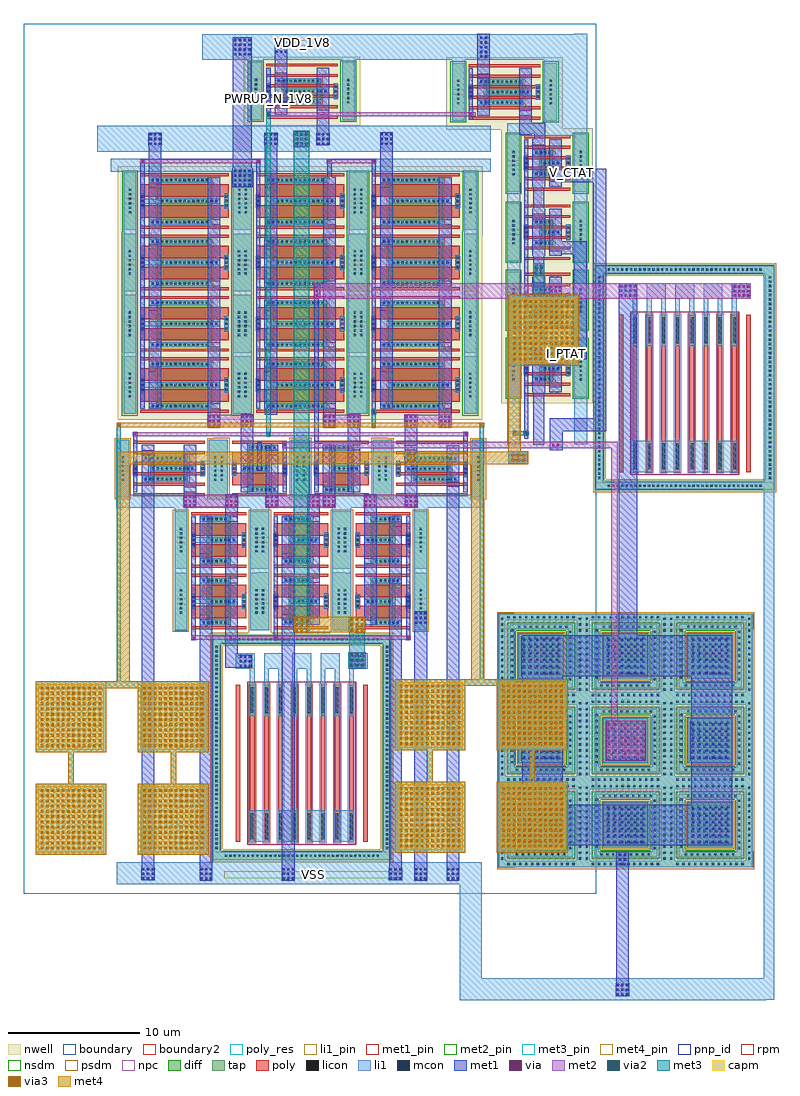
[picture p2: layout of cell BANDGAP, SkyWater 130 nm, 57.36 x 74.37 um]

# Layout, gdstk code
from math import pi, radians
import gdstk
lib = gdstk.Library(unit=1e-6, precision=1e-09)
def R(c, l, rs):  # rectangles x0, y0, x1, y1
    for r in rs: c.add(gdstk.rectangle(r[:2], r[2:], *l))
def A(c, l, x, y, w, h, nx, ny, dx, dy):  # array of equal rectangles
    R(c, l, [(x+i*dx, y+j*dy, x+i*dx+w, y+j*dy+h) for i in range(nx) for j in range(ny)])
def P(c, l, *ps):  # polygons
    for p in ps: c.add(gdstk.Polygon(p, *l))
nwell = (64, 20)
diff = (65, 20)
tap = (65, 44)
poly_res = (66, 13)
poly = (66, 20)
licon = (66, 44)
li1_pin = (67, 16)
li1 = (67, 20)
mcon = (67, 44)
met1_pin = (68, 16)
met1 = (68, 20)
via = (68, 44)
met2_pin = (69, 16)
met2 = (69, 20)
via2 = (69, 44)
met3_pin = (70, 16)
met3 = (70, 20)
via3 = (70, 44)
met4_pin = (71, 16)
met4 = (71, 20)
pnp_id = (82, 44)
rpm = (86, 20)
capm = (89, 44)
nsdm = (93, 44)
psdm = (94, 20)
npc = (95, 20)
boundary = (235, 4)
boundary2 = (236, 0)

jnwtr_capx1 = lib.new_cell('JNWTR_CAPX1')
R(jnwtr_capx1, met3_pin, [(0,0,5.4,0.5)])
R(jnwtr_capx1, met3, [(0,0,5.4,5.4)])
A(jnwtr_capx1, via3, 0.4, 0.4, 0.2, 0.2, 12, 12, 0.4, 0.4)
R(jnwtr_capx1, met4_pin, [(0,0,5.4,0.5)])
R(jnwtr_capx1, met4, [(0,0,5.4,5.4)])
R(jnwtr_capx1, capm, [(0.2,0.2,5.2,5.2)])
R(jnwtr_capx1, boundary, [(0,0,5.4,5.4)])
jnwtr_capx1.add(gdstk.Label('A', (2.7,0.25), layer=70, texttype=5))
jnwtr_capx1.add(gdstk.Label('B', (2.7,0.25), layer=71, texttype=5))

jnwtr_capx4 = lib.new_cell('JNWTR_CAPX4')
R(jnwtr_capx4, met3_pin, [(2.4,0,7.8,0.5)])
R(jnwtr_capx4, met3, [(2.4,0,15.6,0.5), (4.9,0.5,5.3,8.3), (12.7,0.5,13.1,8.3)])
R(jnwtr_capx4, met4_pin, [(2.4,0,7.8,0.5)])
R(jnwtr_capx4, met4, [(2.4,0,15.6,0.5), (4.9,0.5,5.3,8.3), (12.7,0.5,13.1,8.3)])
R(jnwtr_capx4, boundary, [(2.4,0,15.6,13.2)])
jnwtr_capx4.add(gdstk.Reference(jnwtr_capx1, (2.4,0)))
jnwtr_capx4.add(gdstk.Reference(jnwtr_capx1, (2.4,7.8)))
jnwtr_capx4.add(gdstk.Reference(jnwtr_capx1, (10.2,0)))
jnwtr_capx4.add(gdstk.Reference(jnwtr_capx1, (10.2,7.8)))
jnwtr_capx4.add(gdstk.Label('A', (5.1,0.25), layer=70, texttype=5))
jnwtr_capx4.add(gdstk.Label('B', (5.1,0.25), layer=71, texttype=5))

leloatr_nch_8c1f2 = lib.new_cell('LELOATR_NCH_8C1F2')
R(leloatr_nch_8c1f2, diff, [(2.08,1,4.96,3)])
R(leloatr_nch_8c1f2, tap, [(-0.48,-0.2,0.48,4.2), (6.56,-0.2,7.52,4.2)])
A(leloatr_nch_8c1f2, poly, 0.8, -0.11, 5.44, 0.22, 1, 6, 0, 0.8)
R(leloatr_nch_8c1f2, poly, [(0.8,1.4,1.12,1.49), (5.92,1.4,6.24,1.49), (0.8,1.71,1.12,2.29), (5.92,1.71,6.24,2.29), (0.8,2.51,1.12,2.6), (5.92,2.51,6.24,2.6)])
A(leloatr_nch_8c1f2, licon, -0.085, 1.065, 0.17, 0.17, 1, 6, 0, 0.34)
A(leloatr_nch_8c1f2, licon, 6.955, 1.065, 0.17, 0.17, 1, 6, 0, 0.34)
A(leloatr_nch_8c1f2, licon, 2.245, 1.115, 0.17, 0.17, 8, 3, 0.34, 0.8)
A(leloatr_nch_8c1f2, licon, 0.875, 1.575, 0.17, 0.17, 1, 3, 0, 0.34)
A(leloatr_nch_8c1f2, licon, 5.995, 1.575, 0.17, 0.17, 1, 3, 0, 0.34)
R(leloatr_nch_8c1f2, li1_pin, [(-0.48,1.8,0.48,2.2)])
R(leloatr_nch_8c1f2, li1, [(-0.48,-0.2,0.48,4.2), (6.56,-0.2,7.52,4.2), (1.44,1,4.96,1.4), (0.8,1.4,1.12,2.6), (5.92,1.4,6.24,2.6), (2.08,1.8,5.6,2.2), (1.44,2.6,4.96,3)])
A(leloatr_nch_8c1f2, mcon, 0.875, 1.555, 0.17, 0.17, 1, 3, 0, 0.36)
R(leloatr_nch_8c1f2, mcon, [(1.655,1.115,1.825,1.285), (2.015,1.115,2.185,1.285), (4.855,1.915,5.025,2.085), (5.215,1.915,5.385,2.085), (1.655,2.715,1.825,2.885), (2.015,2.715,2.185,2.885)])
R(leloatr_nch_8c1f2, met1_pin, [(4.64,0.2,5.6,0.6), (0.8,1.8,1.12,2.2), (1.44,3,2.4,3.4)])
R(leloatr_nch_8c1f2, met1, [(0.8,0.2,1.12,3.8), (1.44,0.2,2.4,3.8), (4.64,0.2,5.6,3.8)])
R(leloatr_nch_8c1f2, nsdm, [(1.955,0.875,5.085,3.125)])
R(leloatr_nch_8c1f2, psdm, [(-0.605,-0.325,0.605,4.325), (6.435,-0.325,7.645,4.325)])
R(leloatr_nch_8c1f2, npc, [(0.775,1.475,1.145,2.525), (5.895,1.475,6.265,2.525)])
R(leloatr_nch_8c1f2, boundary, [(0,0,7.04,4)])
leloatr_nch_8c1f2.add(gdstk.Label('D', (5.12,0.4), layer=68, texttype=5))
leloatr_nch_8c1f2.add(gdstk.Label('G', (0.96,2), layer=68, texttype=5))
leloatr_nch_8c1f2.add(gdstk.Label('S', (1.92,3.2), layer=68, texttype=5))
leloatr_nch_8c1f2.add(gdstk.Label('B', (0,2), layer=67, texttype=5))

jnwtr_res8 = lib.new_cell('JNWTR_RES8')
A(jnwtr_res8, poly_res, 0.9, 1.72, 0.36, 7.36, 8, 1, 1.08, 0)
A(jnwtr_res8, poly, -0.18, -0.6, 0.36, 12, 10, 1, 1.08, 0)
A(jnwtr_res8, licon, 0.985, -0.4, 0.19, 2, 8, 2, 1.08, 9.6)
R(jnwtr_res8, li1_pin, [(-0.18,12.6,1.26,13.8), (8.46,12.6,9.9,13.8)])
A(jnwtr_res8, li1, 0.9, -0.6, 1.44, 2.4, 4, 1, 2.16, 0)
A(jnwtr_res8, li1, 0.9, 9, 0.36, 3.6, 8, 1, 1.08, 0)
A(jnwtr_res8, li1, -0.18, 12.6, 1.44, 1.2, 5, 1, 2.16, 0)
R(jnwtr_res8, rpm, [(0.7,-0.8,9.02,11.6)])
A(jnwtr_res8, psdm, 0.79, -0.71, 0.58, 12.22, 8, 1, 1.08, 0)
A(jnwtr_res8, npc, 0.805, -0.695, 0.55, 12.19, 8, 1, 1.08, 0)
R(jnwtr_res8, boundary, [(0,0,9.72,13.2)])
jnwtr_res8.add(gdstk.Label('N', (0.54,13.2), layer=67, texttype=5))
jnwtr_res8.add(gdstk.Label('P', (9.18,13.2), layer=67, texttype=5))

jnwtr_rppo8 = lib.new_cell('JNWTR_RPPO8')
R(jnwtr_rppo8, tap, [(0,0,13.72,0.72), (0,0.72,0.72,16.48), (13,0.72,13.72,16.48), (0,16.48,13.72,17.2)])
A(jnwtr_rppo8, licon, 0.995, 0.275, 0.17, 0.17, 35, 2, 0.34, 16.48)
A(jnwtr_rppo8, licon, 0.275, 0.865, 0.17, 0.17, 1, 46, 0, 0.34)
A(jnwtr_rppo8, licon, 13.275, 0.865, 0.17, 0.17, 1, 46, 0, 0.34)
R(jnwtr_rppo8, li1_pin, [(0.08,0.08,13.64,0.64), (1.82,14.6,3.26,15.8), (10.46,14.6,11.9,15.8)])
R(jnwtr_rppo8, li1, [(0.08,0.08,13.64,0.64), (0.08,0.64,0.64,16.56), (13.08,0.64,13.64,16.56), (1.82,14.6,3.26,15.8), (10.46,14.6,11.9,15.8), (0.08,16.56,13.64,17.12)])
R(jnwtr_rppo8, psdm, [(-0.125,-0.125,13.845,0.845), (-0.125,0.845,0.845,16.355), (12.875,0.845,13.845,16.355), (-0.125,16.355,13.845,17.325)])
R(jnwtr_rppo8, boundary, [(0,0,13.72,17.2)])
jnwtr_rppo8.add(gdstk.Reference(jnwtr_res8, (2,2)))
jnwtr_rppo8.add(gdstk.Label('P', (11.18,15.2), layer=67, texttype=5))
jnwtr_rppo8.add(gdstk.Label('N', (2.54,15.2), layer=67, texttype=5))
jnwtr_rppo8.add(gdstk.Label('B', (6.86,0.36), layer=67, texttype=5))

leloatr_pch_12c5f0 = lib.new_cell('LELOATR_PCH_12C5F0')
R(leloatr_pch_12c5f0, nwell, [(-0.92,-0.64,9.24,4.64)])
R(leloatr_pch_12c5f0, diff, [(2.08,0.2,6.24,3.8)])
R(leloatr_pch_12c5f0, tap, [(-0.48,-0.2,0.48,4.2), (7.84,-0.2,8.8,4.2)])
R(leloatr_pch_12c5f0, poly, [(0.8,-0.11,7.52,0.11), (0.8,0.73,7.52,1.67), (0.8,1.67,1.12,2.33), (7.2,1.67,7.52,2.33), (0.8,2.33,7.52,3.27), (0.8,3.89,7.52,4.11)])
A(leloatr_pch_12c5f0, licon, 2.375, 0.315, 0.17, 0.17, 11, 3, 0.34, 1.6)
A(leloatr_pch_12c5f0, licon, -0.085, 1.065, 0.17, 0.17, 1, 6, 0, 0.34)
A(leloatr_pch_12c5f0, licon, 8.235, 1.065, 0.17, 0.17, 1, 6, 0, 0.34)
A(leloatr_pch_12c5f0, licon, 0.875, 1.575, 0.17, 0.17, 1, 3, 0, 0.34)
A(leloatr_pch_12c5f0, licon, 7.275, 1.575, 0.17, 0.17, 1, 3, 0, 0.34)
R(leloatr_pch_12c5f0, li1_pin, [(-0.48,1.8,0.48,2.2)])
R(leloatr_pch_12c5f0, li1, [(-0.48,-0.2,0.48,4.2), (7.84,-0.2,8.8,4.2), (1.44,0.2,6.24,0.6), (0.8,1.4,1.12,2.6), (7.2,1.4,7.52,2.6), (2.08,1.8,6.88,2.2), (1.44,3.4,6.24,3.8)])
A(leloatr_pch_12c5f0, mcon, 0.875, 1.555, 0.17, 0.17, 1, 3, 0, 0.36)
R(leloatr_pch_12c5f0, mcon, [(1.655,0.315,1.825,0.485), (2.015,0.315,2.185,0.485), (6.135,1.915,6.305,2.085), (6.495,1.915,6.665,2.085), (1.655,3.515,1.825,3.685), (2.015,3.515,2.185,3.685)])
R(leloatr_pch_12c5f0, met1_pin, [(5.92,0.2,6.88,0.6), (0.8,1.8,1.12,2.2), (1.44,3,2.4,3.4)])
R(leloatr_pch_12c5f0, met1, [(0.8,0.2,1.12,3.8), (1.44,0.2,2.4,3.8), (5.92,0.2,6.88,3.8)])
R(leloatr_pch_12c5f0, nsdm, [(-0.605,-0.325,0.605,4.325), (7.715,-0.325,8.925,4.325)])
R(leloatr_pch_12c5f0, psdm, [(1.955,0.075,6.365,3.925)])
R(leloatr_pch_12c5f0, npc, [(0.775,1.475,1.145,2.525), (7.175,1.475,7.545,2.525)])
R(leloatr_pch_12c5f0, boundary, [(0,0,8.32,4)])
leloatr_pch_12c5f0.add(gdstk.Label('D', (6.4,0.4), layer=68, texttype=5))
leloatr_pch_12c5f0.add(gdstk.Label('G', (0.96,2), layer=68, texttype=5))
leloatr_pch_12c5f0.add(gdstk.Label('S', (1.92,3.2), layer=68, texttype=5))
leloatr_pch_12c5f0.add(gdstk.Label('B', (0,2), layer=67, texttype=5))

leloatr_nch_4c5f0 = lib.new_cell('LELOATR_NCH_4C5F0')
R(leloatr_nch_4c5f0, diff, [(2.08,0.2,3.68,3.8)])
R(leloatr_nch_4c5f0, tap, [(-0.48,-0.2,0.48,4.2), (5.28,-0.2,6.24,4.2)])
R(leloatr_nch_4c5f0, poly, [(0.8,-0.11,4.96,0.11), (0.8,0.73,4.96,1.67), (0.8,1.67,1.12,2.33), (4.64,1.67,4.96,2.33), (0.8,2.33,4.96,3.27), (0.8,3.89,4.96,4.11)])
A(leloatr_nch_4c5f0, licon, 2.285, 0.315, 0.17, 0.17, 4, 3, 0.34, 1.6)
A(leloatr_nch_4c5f0, licon, -0.085, 1.065, 0.17, 0.17, 1, 6, 0, 0.34)
A(leloatr_nch_4c5f0, licon, 5.675, 1.065, 0.17, 0.17, 1, 6, 0, 0.34)
A(leloatr_nch_4c5f0, licon, 0.875, 1.575, 0.17, 0.17, 1, 3, 0, 0.34)
A(leloatr_nch_4c5f0, licon, 4.715, 1.575, 0.17, 0.17, 1, 3, 0, 0.34)
R(leloatr_nch_4c5f0, li1_pin, [(-0.48,1.8,0.48,2.2)])
R(leloatr_nch_4c5f0, li1, [(-0.48,-0.2,0.48,4.2), (5.28,-0.2,6.24,4.2), (1.44,0.2,3.68,0.6), (0.8,1.4,1.12,2.6), (4.64,1.4,4.96,2.6), (2.08,1.8,4.32,2.2), (1.44,3.4,3.68,3.8)])
A(leloatr_nch_4c5f0, mcon, 0.875, 1.555, 0.17, 0.17, 1, 3, 0, 0.36)
R(leloatr_nch_4c5f0, mcon, [(1.655,0.315,1.825,0.485), (2.015,0.315,2.185,0.485), (3.575,1.915,3.745,2.085), (3.935,1.915,4.105,2.085), (1.655,3.515,1.825,3.685), (2.015,3.515,2.185,3.685)])
R(leloatr_nch_4c5f0, met1_pin, [(3.36,0.2,4.32,0.6), (0.8,1.8,1.12,2.2), (1.44,3,2.4,3.4)])
R(leloatr_nch_4c5f0, met1, [(0.8,0.2,1.12,3.8), (1.44,0.2,2.4,3.8), (3.36,0.2,4.32,3.8)])
R(leloatr_nch_4c5f0, nsdm, [(1.955,0.075,3.805,3.925)])
R(leloatr_nch_4c5f0, psdm, [(-0.605,-0.325,0.605,4.325), (5.155,-0.325,6.365,4.325)])
R(leloatr_nch_4c5f0, npc, [(0.775,1.475,1.145,2.525), (4.615,1.475,4.985,2.525)])
R(leloatr_nch_4c5f0, boundary, [(0,0,5.76,4)])
leloatr_nch_4c5f0.add(gdstk.Label('D', (3.84,0.4), layer=68, texttype=5))
leloatr_nch_4c5f0.add(gdstk.Label('G', (0.96,2), layer=68, texttype=5))
leloatr_nch_4c5f0.add(gdstk.Label('S', (1.92,3.2), layer=68, texttype=5))
leloatr_nch_4c5f0.add(gdstk.Label('B', (0,2), layer=67, texttype=5))

jnwatr_pch_8c1f2 = lib.new_cell('JNWATR_PCH_8C1F2')
R(jnwatr_pch_8c1f2, nwell, [(-0.92,-0.64,7.96,4.64)])
R(jnwatr_pch_8c1f2, diff, [(2.08,1,4.96,3)])
R(jnwatr_pch_8c1f2, tap, [(-0.48,-0.2,0.48,4.2), (6.56,-0.2,7.52,4.2)])
A(jnwatr_pch_8c1f2, poly, 0.8, -0.11, 5.44, 0.22, 1, 6, 0, 0.8)
R(jnwatr_pch_8c1f2, poly, [(0.8,1.4,1.12,1.49), (5.92,1.4,6.24,1.49), (0.8,1.71,1.12,2.29), (5.92,1.71,6.24,2.29), (0.8,2.51,1.12,2.6), (5.92,2.51,6.24,2.6)])
A(jnwatr_pch_8c1f2, licon, -0.085, 1.065, 0.17, 0.17, 1, 6, 0, 0.34)
A(jnwatr_pch_8c1f2, licon, 6.955, 1.065, 0.17, 0.17, 1, 6, 0, 0.34)
A(jnwatr_pch_8c1f2, licon, 2.245, 1.115, 0.17, 0.17, 8, 3, 0.34, 0.8)
A(jnwatr_pch_8c1f2, licon, 0.87, 1.575, 0.17, 0.17, 1, 3, 0, 0.34)
A(jnwatr_pch_8c1f2, licon, 5.99, 1.575, 0.17, 0.17, 1, 3, 0, 0.34)
R(jnwatr_pch_8c1f2, li1_pin, [(-0.48,1.8,0.48,2.2)])
R(jnwatr_pch_8c1f2, li1, [(-0.48,-0.2,0.48,4.2), (6.56,-0.2,7.52,4.2), (1.44,1,4.96,1.4), (0.8,1.4,1.12,2.6), (5.92,1.4,6.24,2.6), (2.08,1.8,5.6,2.2), (1.44,2.6,4.96,3)])
A(jnwatr_pch_8c1f2, mcon, 0.87, 1.555, 0.17, 0.17, 1, 3, 0, 0.36)
R(jnwatr_pch_8c1f2, mcon, [(1.655,1.115,1.825,1.285), (2.015,1.115,2.185,1.285), (4.855,1.915,5.025,2.085), (5.215,1.915,5.385,2.085), (1.655,2.715,1.825,2.885), (2.015,2.715,2.185,2.885)])
R(jnwatr_pch_8c1f2, met1_pin, [(4.64,0.2,5.6,0.6), (0.8,1.8,1.12,2.2), (1.44,3,2.4,3.4)])
R(jnwatr_pch_8c1f2, met1, [(0.8,0.2,1.12,3.8), (1.44,0.2,2.4,3.8), (4.64,0.2,5.6,3.8)])
R(jnwatr_pch_8c1f2, nsdm, [(-0.605,-0.325,0.605,4.325), (6.435,-0.325,7.645,4.325)])
R(jnwatr_pch_8c1f2, psdm, [(1.955,0.875,5.085,3.125)])
R(jnwatr_pch_8c1f2, npc, [(0.77,1.475,1.14,2.525), (5.89,1.475,6.26,2.525)])
R(jnwatr_pch_8c1f2, boundary, [(0,0,7.04,4)])
jnwatr_pch_8c1f2.add(gdstk.Label('D', (5.12,0.4), layer=68, texttype=5))
jnwatr_pch_8c1f2.add(gdstk.Label('G', (0.96,2), layer=68, texttype=5))
jnwatr_pch_8c1f2.add(gdstk.Label('S', (1.92,3.2), layer=68, texttype=5))
jnwatr_pch_8c1f2.add(gdstk.Label('B', (0,2), layer=67, texttype=5))

bandgap_opamp = lib.new_cell('BANDGAP_OPAMP')
R(bandgap_opamp, li1, [(7.09,0.71,34.89,2.375), (14.415,2.375,27.975,2.78), (14.415,2.78,14.975,19.09), (27.415,2.78,27.975,19.09), (24.795,17.19,25.995,18.33), (16.445,17.25,17.35,18.155), (14.415,19.09,27.975,19.65), (11.51,20.02,12.47,29.405), (23.525,20.055,24.975,29.405), (17.27,20.065,18.725,29.405), (29.775,20.52,30.735,29.405), (12.805,22.065,14.385,22.465), (12.805,26.735,14.81,27.135), (7.075,29.4,8.035,29.405), (7.075,29.405,35.115,30.38), (7.075,30.38,8.05,34.585), (14.115,30.38,15.565,34.585), (20.365,30.38,21.82,34.585), (27.11,30.38,28.07,34.385), (34.15,30.38,35.11,34.58), (15.94,36.55,17.395,55.02), (24.755,36.55,26.205,55.02), (7.62,37,8.58,55.02), (33.565,37,34.525,55.02), (8.9,38.55,11.085,38.95), (8.9,43.22,11.25,43.62), (8.9,47.89,11.14,48.29), (8.9,52.56,10.9,52.96), (6.62,55.02,35.58,55.98), (5.61,56.52,35.59,58.5), (17.22,62.275,18.18,63.52), (24.26,62.275,25.22,63.52), (13.62,63.52,27.08,65.48)])
A(bandgap_opamp, mcon, 9.03, 1.055, 0.17, 0.17, 3, 3, 0.36, 0.36)
A(bandgap_opamp, mcon, 13.465, 1.055, 0.17, 0.17, 3, 3, 0.36, 0.36)
A(bandgap_opamp, mcon, 19.72, 1.055, 0.17, 0.17, 3, 3, 0.36, 0.36)
A(bandgap_opamp, mcon, 27.89, 1.055, 0.17, 0.17, 3, 3, 0.36, 0.36)
A(bandgap_opamp, mcon, 29.81, 1.055, 0.17, 0.17, 3, 3, 0.36, 0.36)
A(bandgap_opamp, mcon, 32.265, 1.055, 0.17, 0.17, 3, 3, 0.36, 0.36)
A(bandgap_opamp, mcon, 16.45, 17.255, 0.17, 0.17, 3, 3, 0.36, 0.36)
A(bandgap_opamp, mcon, 24.95, 17.315, 0.17, 0.17, 3, 3, 0.36, 0.36)
A(bandgap_opamp, mcon, 29.81, 20.555, 0.17, 0.17, 3, 3, 0.36, 0.36)
A(bandgap_opamp, mcon, 16.04, 53.905, 0.17, 0.17, 4, 4, 0.36, 0.36)
A(bandgap_opamp, mcon, 9.575, 57.055, 0.17, 0.17, 3, 3, 0.36, 0.36)
A(bandgap_opamp, mcon, 18.39, 57.055, 0.17, 0.17, 3, 3, 0.36, 0.36)
A(bandgap_opamp, mcon, 20.73, 57.055, 0.17, 0.17, 3, 3, 0.36, 0.36)
A(bandgap_opamp, mcon, 22.375, 57.055, 0.17, 0.17, 3, 3, 0.36, 0.36)
A(bandgap_opamp, mcon, 27.2, 57.055, 0.17, 0.17, 3, 3, 0.36, 0.36)
A(bandgap_opamp, mcon, 16.04, 63.87, 0.17, 0.17, 4, 4, 0.36, 0.36)
A(bandgap_opamp, mcon, 19.175, 64.055, 0.17, 0.17, 3, 3, 0.36, 0.36)
R(bandgap_opamp, met1_pin, [(32.23,30.98,33.19,31.38), (19.725,32.18,20.045,32.58), (22.14,32.18,22.46,32.58), (33.51,32.18,33.83,32.58), (29.03,33.78,29.99,34.18), (19.14,61.935,20.1,62.335)])
R(bandgap_opamp, met1, [(13.43,0.99,14.39,26.53), (19.685,0.99,20.645,28.08), (29.775,0.99,30.735,21.51), (32.23,0.99,33.19,30.97), (8.965,1.02,9.985,1.98), (27.825,1.02,28.845,1.98), (8.995,1.98,9.955,32.705), (27.855,1.98,28.815,27.64), (24.765,17.13,26.025,17.16), (24.735,17.16,26.055,18.36), (15.345,17.22,17.41,18.185), (15.345,18.185,16.31,21.485), (24.765,18.36,26.025,18.39), (12.785,19.31,13.11,27.78), (19.045,19.31,19.365,27.96), (29.135,19.31,29.455,26.26), (21.605,21.12,22.565,30.41), (15.345,21.485,16.305,27.65), (25.935,22.37,26.895,30.41), (15.35,27.775,16.31,30.41), (12.195,29.39,13.155,31.68), (18.445,29.39,19.405,31.9), (22.78,29.39,23.74,32.585), (29.03,29.39,29.99,32.7), (22.13,30.57,22.47,34.18), (19.725,30.58,20.045,34.17), (33.51,30.58,33.83,35.19), (33.18,30.97,33.19,30.98), (32.23,30.98,33.19,32.7), (16.525,32.54,17.485,36.51), (29,32.7,30.02,33.66), (24.7,33.22,25.66,35.52), (29.03,33.66,29.99,35.52), (8.355,33.865,8.675,34.84), (8.325,34.84,8.705,35.16), (14.02,35.49,14.98,54.48), (22.835,35.49,23.795,54.58), (24.67,35.52,25.69,36.48), (29,35.52,30.02,36.48), (31.615,35.52,32.635,36.48), (18.355,36.48,19.315,57.02), (24.7,36.48,25.66,36.51), (31.645,36.48,32.605,54.48), (26.525,36.51,26.845,55.99), (8.9,37,9.22,55.99), (17.715,37.24,18.035,55.99), (27.165,37.31,28.125,58.01), (9.54,38.92,10.5,57.02), (15.88,53.805,17.455,55.26), (23.14,54.58,23.46,55.64), (15.94,55.26,17.395,65.255), (23.11,55.64,23.49,55.96), (20.575,56.87,21.775,56.9), (20.545,56.9,21.805,58.1), (9.51,57.02,10.53,57.98), (18.325,57.02,19.345,57.98), (22.31,57.02,23.33,57.98), (22.34,57.98,23.3,60.38), (20.575,58.1,21.775,58.13), (18.5,59.205,18.82,59.585), (19.14,61.285,20.1,65.01)])
A(bandgap_opamp, via, 24.84, 17.365, 0.15, 0.15, 4, 3, 0.32, 0.32)
A(bandgap_opamp, via, 12.28, 29.505, 0.15, 0.15, 3, 3, 0.32, 0.32)
A(bandgap_opamp, via, 15.435, 29.505, 0.15, 0.15, 3, 3, 0.32, 0.32)
A(bandgap_opamp, via, 18.53, 29.505, 0.15, 0.15, 3, 3, 0.32, 0.32)
A(bandgap_opamp, via, 21.69, 29.505, 0.15, 0.15, 3, 3, 0.32, 0.32)
A(bandgap_opamp, via, 22.865, 29.505, 0.15, 0.15, 3, 3, 0.32, 0.32)
A(bandgap_opamp, via, 26.02, 29.505, 0.15, 0.15, 3, 3, 0.32, 0.32)
A(bandgap_opamp, via, 29.115, 29.505, 0.15, 0.15, 3, 3, 0.32, 0.32)
A(bandgap_opamp, via, 29.115, 32.785, 0.15, 0.15, 3, 3, 0.32, 0.32)
A(bandgap_opamp, via, 14.105, 35.605, 0.15, 0.15, 3, 3, 0.32, 0.32)
A(bandgap_opamp, via, 16.61, 35.605, 0.15, 0.15, 3, 3, 0.32, 0.32)
A(bandgap_opamp, via, 22.92, 35.605, 0.15, 0.15, 3, 3, 0.32, 0.32)
A(bandgap_opamp, via, 24.785, 35.605, 0.15, 0.15, 3, 3, 0.32, 0.32)
A(bandgap_opamp, via, 29.115, 35.605, 0.15, 0.15, 3, 3, 0.32, 0.32)
A(bandgap_opamp, via, 31.73, 35.605, 0.15, 0.15, 3, 3, 0.32, 0.32)
A(bandgap_opamp, via, 20.78, 57.105, 0.15, 0.15, 3, 3, 0.32, 0.32)
R(bandgap_opamp, via, [(12.87,19.425,13.02,19.575), (15.725,19.425,15.875,19.575), (19.13,19.425,19.28,19.575), (29.22,19.425,29.37,19.575), (8.44,34.925,8.59,35.075), (33.595,34.925,33.745,35.075), (26.61,36.625,26.76,36.775), (8.985,55.725,9.135,55.875), (17.8,55.725,17.95,55.875), (23.225,55.725,23.375,55.875), (26.61,55.725,26.76,55.875), (18.585,59.32,18.735,59.47)])
R(bandgap_opamp, met2, [(24.735,17.16,26.055,18.36), (24.765,18.36,26.025,18.405), (12.755,19.34,29.485,19.66), (12.755,19.66,13.71,19.665), (12.165,29.42,16.34,30.38), (18.415,29.42,23.77,30.38), (25.905,29.42,30.02,30.38), (29.03,32.67,29.99,32.7), (29.03,32.7,30.035,33.66), (29.03,33.66,29.99,33.69), (8.355,34.81,8.675,34.84), (18.52,34.815,18.8,34.84), (8.355,34.84,33.86,35.16), (8.355,35.16,8.675,35.19), (18.52,35.16,18.8,35.185), (24.7,35.49,25.66,35.52), (29.03,35.49,29.99,35.52), (31.645,35.49,32.605,35.52), (13.99,35.52,17.515,36.48), (22.805,35.52,25.69,36.48), (29.03,35.52,32.605,36.48), (24.7,36.48,25.66,36.51), (29.03,36.48,29.99,36.51), (31.645,36.48,32.605,36.51), (26.525,36.495,26.845,36.54), (26.495,36.54,26.875,36.86), (26.525,36.86,26.845,36.865), (23.14,55.61,23.46,55.64), (8.87,55.64,18.065,55.96), (23.14,55.64,26.875,55.96), (23.14,55.96,23.46,55.99), (20.545,56.9,21.805,58.1), (18.5,59.19,18.82,59.235), (18.47,59.235,18.85,59.555), (18.5,59.555,18.82,59.56)])
A(bandgap_opamp, via2, 24.895, 17.285, 0.2, 0.2, 3, 3, 0.4, 0.4)
A(bandgap_opamp, via2, 20.675, 57, 0.2, 0.2, 3, 3, 0.4, 0.4)
R(bandgap_opamp, via2, [(29.235,32.88,29.435,33.08), (29.635,32.88,29.835,33.08), (29.235,33.28,29.435,33.48), (29.635,33.28,29.835,33.48), (18.56,34.9,18.76,35.1), (26.585,36.58,26.785,36.78), (18.56,59.275,18.76,59.475)])
R(bandgap_opamp, met3, [(7.1,15.85,7.4,34.24), (34.74,15.94,35.06,35.54), (24.74,17.185,26.05,18.385), (24.795,18.385,25.995,19.9), (20.555,19.9,21.805,21.1), (24.765,19.9,26.015,21.1), (20.575,21.1,21.775,58.1), (29.035,32.675,30.045,33.685), (7.09,34.24,7.41,35.89), (18.495,34.835,18.825,35.165), (18.5,35.165,18.82,59.21), (26.525,35.51,26.845,36.515), (34.71,35.54,35.09,35.86), (26.5,36.515,26.87,36.845), (26.525,36.845,26.845,36.96), (18.475,59.21,18.845,59.54)])
A(bandgap_opamp, via3, 20.68, 20, 0.2, 0.2, 3, 3, 0.4, 0.4)
A(bandgap_opamp, via3, 24.89, 20, 0.2, 0.2, 3, 3, 0.4, 0.4)
R(bandgap_opamp, via3, [(29.24,32.88,29.44,33.08), (29.64,32.88,29.84,33.08), (29.24,33.28,29.44,33.48), (29.64,33.28,29.84,33.48), (7.15,35.6,7.35,35.8), (26.585,35.6,26.785,35.8), (34.8,35.6,35,35.8)])
R(bandgap_opamp, met4, [(7.12,16.02,8.08,32.7), (34.12,16.02,35.08,32.7), (20.58,19.895,21.78,19.9), (24.79,19.895,25.99,19.9), (20.58,19.9,25.99,21.1), (20.58,21.1,21.78,21.105), (24.79,21.1,25.99,21.105), (29.06,32.67,30.02,32.7), (7.12,32.7,35.08,33.66), (29.06,33.66,30.02,33.69), (7.085,35.535,7.415,35.54), (26.52,35.535,26.85,35.54), (34.735,35.535,35.065,35.54), (7.085,35.54,35.065,35.86), (7.085,35.86,7.415,35.865), (26.52,35.86,26.85,35.865), (34.735,35.86,35.065,35.865)])
R(bandgap_opamp, nsdm, [(7.49,41.075,8.7,41.095), (15.81,41.075,17.515,41.095), (24.625,41.075,26.325,41.095), (33.435,41.075,34.645,41.095), (7.49,45.745,8.7,45.765), (15.81,45.745,17.515,45.765), (24.625,45.745,26.325,45.765), (33.435,45.745,34.645,45.765), (7.495,50.415,8.7,50.445), (15.815,50.415,17.515,50.445), (24.63,50.415,26.325,50.445), (33.44,50.415,34.645,50.445)])
R(bandgap_opamp, psdm, [(17.14,19.855,18.85,19.935), (23.4,19.855,25.1,19.935), (18.35,19.935,18.85,19.94), (23.4,19.935,23.89,19.94), (11.38,24.585,12.59,24.61), (17.14,24.585,17.64,24.59), (24.61,24.585,25.1,24.59), (29.65,24.585,30.86,24.61), (17.14,24.59,18.85,24.61), (23.4,24.59,25.1,24.61), (18.35,24.61,18.85,24.615), (23.4,24.61,23.89,24.615)])
R(bandgap_opamp, boundary, [(0,0,43.63,66.26)])
bandgap_opamp.add(gdstk.Reference(jnwtr_capx4, (16.51,16.16), rotation=pi))
bandgap_opamp.add(gdstk.Reference(jnwtr_capx4, (43.86,16.32), rotation=pi))
bandgap_opamp.add(gdstk.Reference(leloatr_nch_8c1f2, (7.555,30.385)))
bandgap_opamp.add(gdstk.Reference(leloatr_nch_8c1f2, (34.63,34.38), rotation=pi))
bandgap_opamp.add(gdstk.Reference(jnwtr_rppo8, (14.335,2.53)))
bandgap_opamp.add(gdstk.Reference(leloatr_pch_12c5f0, (8.1,50.77)))
bandgap_opamp.add(gdstk.Reference(leloatr_pch_12c5f0, (8.095,46.09)))
bandgap_opamp.add(gdstk.Reference(leloatr_pch_12c5f0, (8.095,41.42)))
bandgap_opamp.add(gdstk.Reference(leloatr_pch_12c5f0, (8.095,36.75)))
bandgap_opamp.add(gdstk.Reference(leloatr_pch_12c5f0, (16.91,36.75)))
bandgap_opamp.add(gdstk.Reference(leloatr_pch_12c5f0, (16.91,41.42)))
bandgap_opamp.add(gdstk.Reference(leloatr_pch_12c5f0, (16.91,46.09)))
bandgap_opamp.add(gdstk.Reference(leloatr_pch_12c5f0, (16.915,50.77)))
bandgap_opamp.add(gdstk.Reference(leloatr_pch_12c5f0, (25.72,36.75)))
bandgap_opamp.add(gdstk.Reference(leloatr_pch_12c5f0, (25.72,41.42)))
bandgap_opamp.add(gdstk.Reference(leloatr_pch_12c5f0, (25.72,46.09)))
bandgap_opamp.add(gdstk.Reference(leloatr_pch_12c5f0, (25.725,50.77)))
bandgap_opamp.add(gdstk.Reference(leloatr_nch_4c5f0, (20.845,30.39), rotation=pi, x_reflection=True))
bandgap_opamp.add(gdstk.Reference(leloatr_nch_4c5f0, (21.34,34.39), x_reflection=True))
bandgap_opamp.add(gdstk.Reference(leloatr_nch_4c5f0, (11.985,24.26), x_reflection=True))
bandgap_opamp.add(gdstk.Reference(leloatr_nch_4c5f0, (11.985,28.935), x_reflection=True))
bandgap_opamp.add(gdstk.Reference(leloatr_nch_4c5f0, (18.245,28.94), x_reflection=True))
bandgap_opamp.add(gdstk.Reference(leloatr_nch_4c5f0, (18.245,24.265), x_reflection=True))
bandgap_opamp.add(gdstk.Reference(leloatr_nch_4c5f0, (30.255,24.935), rotation=pi, x_reflection=True))
bandgap_opamp.add(gdstk.Reference(leloatr_nch_4c5f0, (30.255,20.26), rotation=pi, x_reflection=True))
bandgap_opamp.add(gdstk.Reference(jnwatr_pch_8c1f2, (17.7,59.14)))
bandgap_opamp.add(gdstk.Label('PWRUP_N_1V8', (33.67,32.38), layer=68, texttype=5))
bandgap_opamp.add(gdstk.Label('VSS', (32.71,31.18), layer=68, texttype=5))
bandgap_opamp.add(gdstk.Label('VIN', (19.885,32.38), layer=68, texttype=5))
bandgap_opamp.add(gdstk.Label('VIP', (22.3,32.38), layer=68, texttype=5))
bandgap_opamp.add(gdstk.Label('VOUT', (29.51,33.98), layer=68, texttype=5))
bandgap_opamp.add(gdstk.Label('VDD_1V8', (19.62,62.135), layer=68, texttype=5))

leloatr_pch_2c1f2 = lib.new_cell('LELOATR_PCH_2C1F2')
R(leloatr_pch_2c1f2, nwell, [(-0.92,-0.64,6.04,4.64)])
R(leloatr_pch_2c1f2, diff, [(2.08,1,3.04,3)])
R(leloatr_pch_2c1f2, tap, [(-0.48,-0.2,0.48,4.2), (4.64,-0.2,5.6,4.2)])
A(leloatr_pch_2c1f2, poly, 0.8, -0.11, 3.52, 0.22, 1, 6, 0, 0.8)
R(leloatr_pch_2c1f2, poly, [(0.8,1.4,1.12,1.49), (4,1.4,4.32,1.49), (0.8,1.71,1.12,2.29), (4,1.71,4.32,2.29), (0.8,2.51,1.12,2.6), (4,2.51,4.32,2.6)])
A(leloatr_pch_2c1f2, licon, -0.085, 1.065, 0.17, 0.17, 1, 6, 0, 0.34)
A(leloatr_pch_2c1f2, licon, 5.035, 1.065, 0.17, 0.17, 1, 6, 0, 0.34)
A(leloatr_pch_2c1f2, licon, 2.305, 1.115, 0.17, 0.17, 1, 3, 0, 0.8)
A(leloatr_pch_2c1f2, licon, 2.645, 1.115, 0.17, 0.17, 1, 3, 0, 0.8)
A(leloatr_pch_2c1f2, licon, 0.875, 1.575, 0.17, 0.17, 1, 3, 0, 0.34)
A(leloatr_pch_2c1f2, licon, 4.075, 1.575, 0.17, 0.17, 1, 3, 0, 0.34)
R(leloatr_pch_2c1f2, li1_pin, [(-0.48,1.8,0.48,2.2)])
R(leloatr_pch_2c1f2, li1, [(-0.48,-0.2,0.48,4.2), (4.64,-0.2,5.6,4.2), (1.44,1,3.04,1.4), (0.8,1.4,1.12,2.6), (4,1.4,4.32,2.6), (2.08,1.8,3.68,2.2), (1.44,2.6,3.04,3)])
A(leloatr_pch_2c1f2, mcon, 0.875, 1.555, 0.17, 0.17, 1, 3, 0, 0.36)
R(leloatr_pch_2c1f2, mcon, [(1.655,1.115,1.825,1.285), (2.015,1.115,2.185,1.285), (2.935,1.915,3.105,2.085), (3.295,1.915,3.465,2.085), (1.655,2.715,1.825,2.885), (2.015,2.715,2.185,2.885)])
R(leloatr_pch_2c1f2, met1_pin, [(2.72,0.2,3.68,0.6), (0.8,1.8,1.12,2.2), (1.44,3,2.4,3.4)])
R(leloatr_pch_2c1f2, met1, [(0.8,0.2,1.12,3.8), (1.44,0.2,2.4,3.8), (2.72,0.2,3.68,3.8)])
R(leloatr_pch_2c1f2, nsdm, [(-0.605,-0.325,0.605,4.325), (4.515,-0.325,5.725,4.325)])
R(leloatr_pch_2c1f2, psdm, [(1.955,0.875,3.165,3.125)])
R(leloatr_pch_2c1f2, npc, [(0.775,1.475,1.145,2.525), (3.975,1.475,4.345,2.525)])
R(leloatr_pch_2c1f2, boundary, [(0,0,5.12,4)])
leloatr_pch_2c1f2.add(gdstk.Label('D', (3.2,0.4), layer=68, texttype=5))
leloatr_pch_2c1f2.add(gdstk.Label('G', (0.96,2), layer=68, texttype=5))
leloatr_pch_2c1f2.add(gdstk.Label('S', (1.92,3.2), layer=68, texttype=5))
leloatr_pch_2c1f2.add(gdstk.Label('B', (0,2), layer=67, texttype=5))

sky130_fd_pr__rf_pnp_05v = lib.new_cell('sky130_fd_pr__rf_pnp_05v5_W3p40L3p40')
R(sky130_fd_pr__rf_pnp_05v, nwell, [(0.765,0.765,5.935,5.935)])
R(sky130_fd_pr__rf_pnp_05v, diff, [(1.65,1.65,5.05,5.05)])
P(sky130_fd_pr__rf_pnp_05v, tap, [(0.945,0.945),(5.755,0.945),(5.755,5.755),(5.395,5.755),(5.395,1.305),(1.305,1.305),(1.305,5.395),(5.395,5.395),(5.395,5.755),(0.945,5.755)],
  [(0.13,0.13),(6.57,0.13),(6.57,6.57),(6.065,6.57),(6.065,0.635),(0.635,0.635),(0.635,6.065),(6.065,6.065),(6.065,6.57),(0.13,6.57)])
A(sky130_fd_pr__rf_pnp_05v, licon, 0.78, 0.29, 0.17, 0.17, 12, 2, 0.45, 5.935)
A(sky130_fd_pr__rf_pnp_05v, licon, 0.3, 0.71, 0.17, 0.17, 1, 13, 0, 0.45)
A(sky130_fd_pr__rf_pnp_05v, licon, 6.235, 0.71, 0.17, 0.17, 1, 13, 0, 0.45)
A(sky130_fd_pr__rf_pnp_05v, licon, 1.43, 1.04, 0.17, 0.17, 9, 1, 0.45, 0)
A(sky130_fd_pr__rf_pnp_05v, licon, 5.49, 1.51, 0.17, 0.17, 1, 9, 0, 0.45)
A(sky130_fd_pr__rf_pnp_05v, licon, 1.04, 1.605, 0.17, 0.17, 1, 9, 0, 0.45)
A(sky130_fd_pr__rf_pnp_05v, licon, 1.92, 1.92, 0.17, 0.17, 7, 7, 0.45, 0.45)
A(sky130_fd_pr__rf_pnp_05v, licon, 1.6, 5.49, 0.17, 0.17, 9, 1, 0.45, 0)
R(sky130_fd_pr__rf_pnp_05v, li1_pin, [(2.77,3.13,4.01,3.65), (2.95,5.51,3.54,5.71), (3.065,6.26,3.57,6.505)])
A(sky130_fd_pr__rf_pnp_05v, li1, 0.58, 0.21, 0.33, 0.33, 12, 1, 0.45, 0)
A(sky130_fd_pr__rf_pnp_05v, li1, 0.675, 0.24, 0.27, 0.27, 11, 2, 0.5, 5.96)
A(sky130_fd_pr__rf_pnp_05v, li1, 6.16, 0.54, 0.33, 0.33, 1, 13, 0, 0.45)
A(sky130_fd_pr__rf_pnp_05v, li1, 0.22, 0.63, 0.33, 0.33, 1, 13, 0, 0.45)
A(sky130_fd_pr__rf_pnp_05v, li1, 1.35, 0.96, 0.33, 0.33, 9, 1, 0.45, 0)
A(sky130_fd_pr__rf_pnp_05v, li1, 1.14, 0.985, 0.27, 0.27, 9, 1, 0.5, 0)
A(sky130_fd_pr__rf_pnp_05v, li1, 5.41, 1.43, 0.33, 0.33, 1, 9, 0, 0.45)
A(sky130_fd_pr__rf_pnp_05v, li1, 0.96, 1.525, 0.33, 0.33, 1, 9, 0, 0.45)
A(sky130_fd_pr__rf_pnp_05v, li1, 1.84, 1.84, 0.33, 0.33, 7, 7, 0.45, 0.45)
A(sky130_fd_pr__rf_pnp_05v, li1, 1.93, 1.93, 0.27, 0.27, 6, 6, 0.5, 0.5)
A(sky130_fd_pr__rf_pnp_05v, li1, 1.52, 5.41, 0.33, 0.33, 9, 1, 0.45, 0)
A(sky130_fd_pr__rf_pnp_05v, li1, 1.155, 5.44, 0.27, 0.27, 9, 1, 0.5, 0)
A(sky130_fd_pr__rf_pnp_05v, li1, 0.7, 6.165, 0.33, 0.33, 12, 1, 0.45, 0)
R(sky130_fd_pr__rf_pnp_05v, li1, [(1.615,1.615,5.085,5.085), (1.65,1.65,5.05,5.05)])
P(sky130_fd_pr__rf_pnp_05v, li1, [(0.13,0.13),(6.57,0.13),(6.57,6.57),(6.075,6.57),(6.075,0.625),(0.625,0.625),(0.625,6.075),(6.075,6.075),(6.075,6.57),(0.13,6.57)],
  [(0.945,0.945),(5.755,0.945),(5.755,5.755),(5.395,5.755),(5.395,1.305),(1.305,1.305),(1.305,5.395),(5.395,5.395),(5.395,5.755),(0.945,5.755)])
A(sky130_fd_pr__rf_pnp_05v, mcon, 1.98, 1.98, 0.17, 0.17, 6, 6, 0.5, 0.5)
A(sky130_fd_pr__rf_pnp_05v, met1, 1.93, 1.93, 0.27, 0.27, 6, 6, 0.5, 0.5)
R(sky130_fd_pr__rf_pnp_05v, met1, [(1.825,1.825,4.875,4.875)])
R(sky130_fd_pr__rf_pnp_05v, pnp_id, [(0.135,0.135,6.565,6.565)])
P(sky130_fd_pr__rf_pnp_05v, nsdm, [(0.805,0.805),(5.895,0.805),(5.895,5.895),(5.265,5.895),(5.265,1.435),(1.435,1.435),(1.435,5.265),(5.265,5.265),(5.265,5.895),(0.805,5.895)])
R(sky130_fd_pr__rf_pnp_05v, psdm, [(1.52,1.52,5.18,5.18)])
P(sky130_fd_pr__rf_pnp_05v, psdm, [(0,0),(6.7,0),(6.7,6.7),(5.935,6.7),(5.935,0.765),(0.765,0.765),(0.765,5.935),(5.935,5.935),(5.935,6.7),(0,6.7)])
R(sky130_fd_pr__rf_pnp_05v, boundary2, [(0.13,0.13,6.57,6.57)])
sky130_fd_pr__rf_pnp_05v.add(gdstk.Label('Emitter', (3.39,3.39), layer=67, texttype=5))
sky130_fd_pr__rf_pnp_05v.add(gdstk.Label('Collector', (3.32,6.38), layer=67, texttype=5))
sky130_fd_pr__rf_pnp_05v.add(gdstk.Label('Base', (3.245,5.61), layer=67, texttype=5))

bandgap_diode = lib.new_cell('BANDGAP_DIODE')
R(bandgap_diode, li1_pin, [(0.2,18.3,19.4,19.4)])
R(bandgap_diode, li1, [(0.1,0.1,1.3,0.15), (0.1,0.15,19.51,1.35), (0.1,1.35,1.33,5.42), (5.38,1.35,7.76,5.42), (11.8,1.35,14.18,5.42), (18.25,1.35,19.47,5.42), (0.1,5.42,19.47,7.78), (0.1,7.78,1.33,11.87), (5.38,7.78,7.76,11.87), (11.8,7.78,14.18,11.87), (18.25,7.78,19.47,11.87), (0.1,11.87,19.47,14.23), (0.1,14.23,1.33,18.27), (5.38,14.23,7.76,18.27), (11.8,14.23,14.18,18.27), (18.25,14.23,19.47,18.27), (0.1,18.27,19.51,19.47), (0.1,19.47,1.3,19.5)])
R(bandgap_diode, met1_pin, [(1.9,1.8,17.9,4.9)])
A(bandgap_diode, met1, 8.5, 8.5, 0.5, 0.5, 3, 3, 1, 1)
R(bandgap_diode, met1, [(1.9,1.8,17.9,4.9), (1.9,4.9,5,14.7), (14.8,4.9,17.9,14.7), (1.9,14.7,17.9,17.8)])
A(bandgap_diode, via, 8.675, 8.675, 0.15, 0.15, 3, 3, 1, 1)
R(bandgap_diode, met2_pin, [(8.3,8.3,11.3,11.3)])
R(bandgap_diode, met2, [(8.3,8.3,11.3,11.3)])
r = gdstk.Reference(sky130_fd_pr__rf_pnp_05v, (0,0)); r.repetition = gdstk.Repetition(3, 3, v1=(6.44,0), v2=(0,6.44)); bandgap_diode.add(r)
bandgap_diode.add(gdstk.Label('DN', (9.9,3.35), layer=68, texttype=5))
bandgap_diode.add(gdstk.Label('C', (9.8,18.85), layer=67, texttype=5))
bandgap_diode.add(gdstk.Label('D1', (9.8,9.8), layer=69, texttype=5))

bandgap = lib.new_cell('BANDGAP')
R(bandgap, nwell, [(31.295,85.5,35.535,85.535), (31.295,85.535,40.18,85.725), (35.51,85.725,40.18,86.555)])
R(bandgap, li1_pin, [(14.375,28.435,27.935,28.995), (19.86,91.895,20.82,92.295)])
R(bandgap, li1, [(32.315,19.17,55.665,19.2), (32.315,19.2,56.3,20.835), (32.315,20.835,33.98,29.655), (55.5,20.835,56.3,75.1), (44.27,29.345,45.155,30.42), (35.94,61.515,36.9,67.025), (41.06,61.515,42.02,81.455), (35.93,67.025,36.915,81.43), (53.145,72.645,54.44,73.725), (44.48,72.67,45.8,73.755), (35.94,82.62,36.9,83.62), (41.06,82.68,42.02,83.62), (35.94,84.18,36.9,85.03), (41.06,84.58,42.02,85.03), (35.94,85.03,42.03,85.99), (38.775,85.99,42.02,87.115), (39.435,87.115,42.02,89.355), (31.735,89.355,32.695,90.8), (38.775,89.355,42.02,90.8), (24.21,90.8,42.02,92.76), (41.06,92.76,42.02,92.78)])
A(bandgap, mcon, 44.265, 19.505, 0.17, 0.17, 3, 3, 0.36, 0.36)
A(bandgap, mcon, 44.445, 29.435, 0.17, 0.17, 1, 3, 0, 0.36)
A(bandgap, mcon, 44.805, 29.435, 0.17, 0.17, 1, 3, 0, 0.36)
A(bandgap, mcon, 53.165, 72.74, 0.17, 0.17, 4, 3, 0.36, 0.36)
A(bandgap, mcon, 44.515, 72.765, 0.17, 0.17, 4, 3, 0.36, 0.36)
A(bandgap, mcon, 33.875, 90.97, 0.17, 0.17, 1, 5, 0, 0.36)
A(bandgap, mcon, 34.235, 90.97, 0.17, 0.17, 1, 5, 0, 0.36)
R(bandgap, met1_pin, [(39.5,68,41.36,68.865), (40.36,82.02,41.32,82.42), (17.6,87.64,17.91,88.04)])
R(bandgap, met1, [(44.2,19.47,45.22,20.43), (44.23,20.43,45.19,30.48), (44.42,44.415,45.86,73.8), (16.89,59.495,17.225,61.665), (36,59.99,37.545,61), (21.22,61.06,21.56,72.6), (39.18,61.07,40.18,62.5), (18.815,61.19,19.135,61.7), (37.92,61.475,38.76,81.92), (37.22,61.94,37.54,62.2), (37.19,62.2,37.57,62.52), (39.18,62.5,43.5,63.5), (37.22,62.52,37.54,84.66), (42.5,63.5,43.5,81.5), (39.5,68,42,69), (41,69,42,76), (39.14,71.14,40.1,73.805), (21.22,72.6,21.705,73.795), (53.06,72.6,54.5,73.8), (40,76,42,77), (39.5,81.5,43.5,82.5), (37.98,82.4,38.82,85.18), (36.855,85.12,37.815,85.18), (36.855,85.18,38.82,86.02), (36.855,86.02,37.815,87.515), (33.015,86.24,33.335,87.06), (33.655,88.62,34.615,92.78)])
A(bandgap, via, 36.225, 60.265, 0.15, 0.15, 4, 2, 0.32, 0.32)
A(bandgap, via, 53.235, 72.79, 0.15, 0.15, 4, 3, 0.32, 0.32)
A(bandgap, via, 21.36, 72.8, 0.15, 0.15, 1, 3, 0, 0.32)
A(bandgap, via, 39.225, 72.805, 0.15, 0.15, 3, 3, 0.32, 0.32)
A(bandgap, via, 38.11, 74.41, 0.15, 0.15, 1, 3, 0, 0.32)
A(bandgap, via, 38.43, 74.41, 0.15, 0.15, 1, 3, 0, 0.32)
R(bandgap, via, [(18.9,61.37,19.05,61.52), (39.38,61.37,39.53,61.52), (39.7,61.37,39.85,61.52), (37.305,62.285,37.455,62.435), (33.1,86.575,33.25,86.725)])
R(bandgap, met2, [(43.855,39.705,44.355,61.2), (36,59.99,37.545,61), (18.8,61.2,44.355,61.7), (37.22,62.17,37.54,62.2), (37.175,62.2,37.545,62.52), (37.22,62.52,37.54,62.55), (21.21,72.6,54.5,73.8), (37.92,74.305,38.76,75.3), (17.6,86.5,33.55,86.8)])
A(bandgap, via2, 36.28, 60.2, 0.2, 0.2, 3, 2, 0.4, 0.4)
R(bandgap, via2, [(37.26,62.26,37.46,62.46), (38.045,74.5,38.245,74.7), (38.445,74.5,38.645,74.7), (38.045,74.9,38.245,75.1), (38.445,74.9,38.645,75.1)])
R(bandgap, met3, [(36,59.99,37.545,61), (36.35,62.17,36.67,62.2), (37.195,62.175,37.525,62.2), (36.35,62.2,37.525,62.52), (36.35,62.52,36.67,62.55), (37.195,62.52,37.525,62.545), (37.92,72.665,38.76,75.3)])
A(bandgap, via3, 36.28, 60.2, 0.2, 0.2, 3, 2, 0.4, 0.4)
R(bandgap, via3, [(36.41,62.26,36.61,62.46)])
R(bandgap, met4, [(33.21,59.425,34.17,59.99), (32.115,59.99,37.545,60.95), (35.995,60.95,37.545,61), (36.02,61,36.98,67.87)])
bandgap.add(gdstk.Reference(bandgap_opamp, (-0.91,27.28)))
bandgap.add(gdstk.Reference(jnwtr_capx1, (36,67.5)))
bandgap.add(gdstk.Reference(leloatr_pch_2c1f2, (36.42,80.94)))
bandgap.add(gdstk.Reference(leloatr_pch_2c1f2, (36.42,65.295)))
bandgap.add(gdstk.Reference(leloatr_pch_2c1f2, (36.42,75.675)))
bandgap.add(gdstk.Reference(leloatr_pch_2c1f2, (36.42,70.48)))
bandgap.add(gdstk.Reference(jnwtr_rppo8, (42.6,58)))
bandgap.add(gdstk.Reference(bandgap_diode, (35.17,29.15)))
bandgap.add(gdstk.Reference(jnwatr_pch_8c1f2, (32.21,86.36)))
bandgap.add(gdstk.Label('VSS', (21.155,28.715), layer=67, texttype=5))
bandgap.add(gdstk.Label('VDD_1V8', (20.34,92.095), layer=67, texttype=5))
bandgap.add(gdstk.Label('V_CTAT', (40.84,82.22), layer=68, texttype=5))
bandgap.add(gdstk.Label('PWRUP_N_1V8', (17.755,87.84), layer=68, texttype=5))
bandgap.add(gdstk.Label('I_PTAT', (40.43,68.432), layer=68, texttype=5))

lib.write_gds('BANDGAP.gds')
